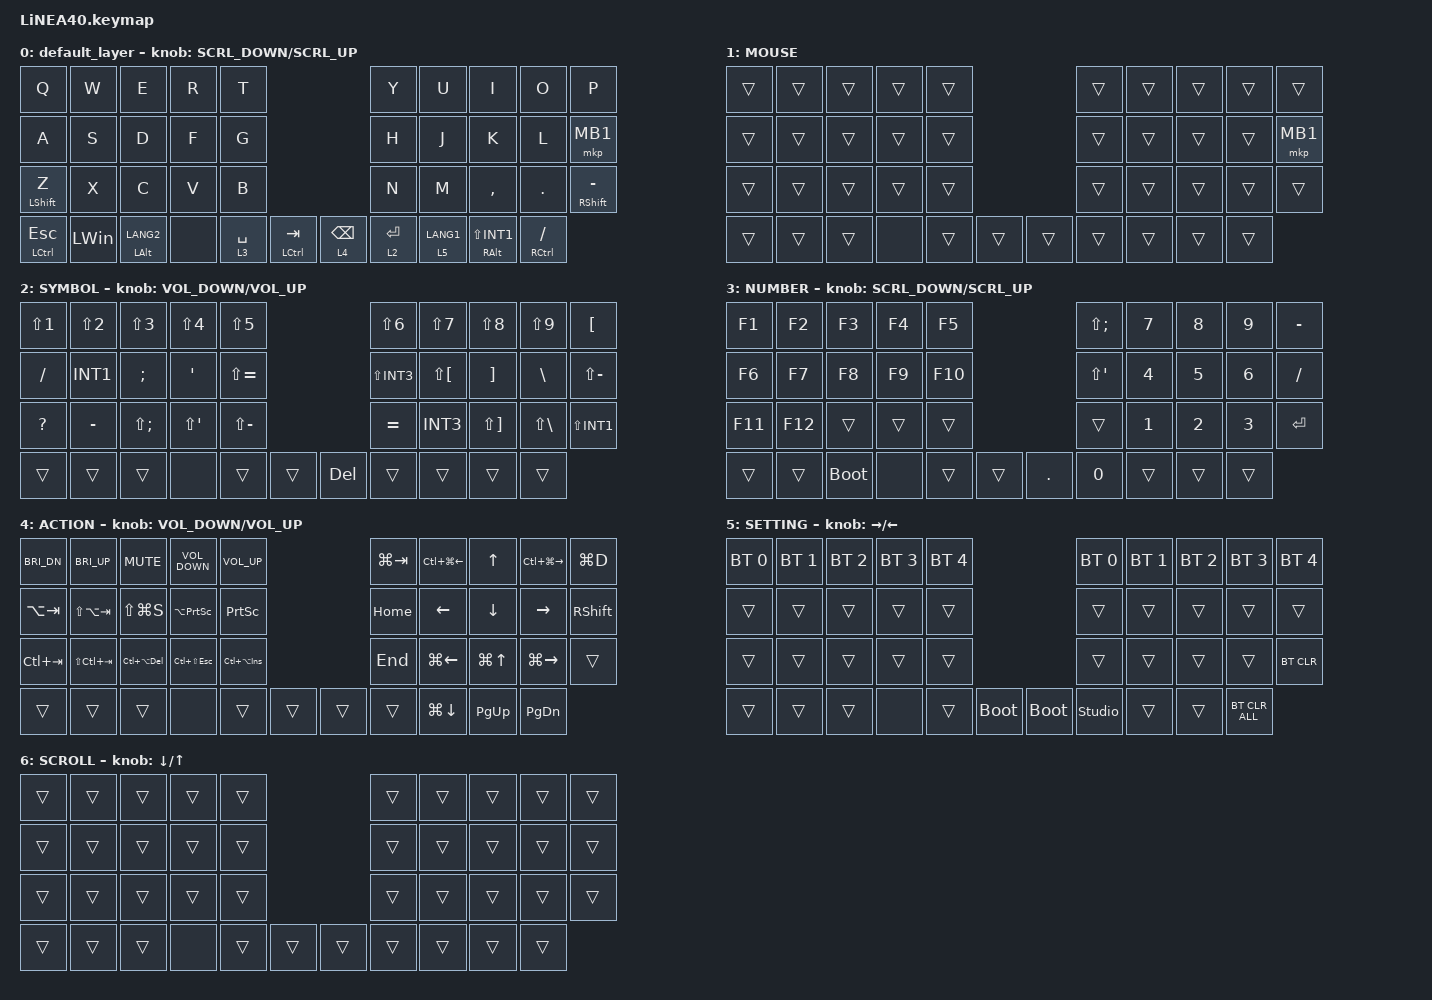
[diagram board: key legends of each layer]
#define ZMK_POINTING_DEFAULT_SCRL_VAL 150

#include <dt-bindings/zmk/input_transform.h>
#include <input/processors.dtsi>
#include <zephyr/dt-bindings/input/input-event-codes.h>
#include <behaviors.dtsi>
#include <dt-bindings/zmk/bt.h>
#include <dt-bindings/zmk/keys.h>
#include <dt-bindings/zmk/pointing.h>

#define MOUSE 1
#define SYMBOL 2
#define NUMBER 3
#define ACTION 4
#define SETTING 5
#define SCROLL 6

//mouse cursol

&mmv {
    delay-ms = <20>;
    trigger-period-ms = <5>;
    time-to-max-speed-ms = <100>;
    acceleration-exponent = <2>;
};

//mouse scroll

&msc {
    delay-ms = <3>;
    trigger-period-ms = <3>;
    time-to-max-speed-ms = <100>;
    acceleration-exponent = <0>;
};

&mt {
    tapping-term-ms = <200>;
    quick-tap-ms = <175>;
    require-prior-idle-ms = <120>;
    flavor = "tap-preferred";
};

&lt {
    tapping-term-ms = <200>;
    quick-tap-ms = <175>;
    flavor = "balanced";
};

/ {
    input_processors {
        zip_wheel_scaler: zip_wheel_scaler {
            compatible = "zmk,input-processor-scaler";
            #input-processor-cells = <2>;
            type = <INPUT_EV_REL>;
            codes = <INPUT_REL_WHEEL>;
            track-remainders;
        };
    };
};

&msc_input_listener {
    speed_up {
        layers = <ACTION>;
        input-processors = <&zip_wheel_scaler 3 1>; //スクロールを3倍速にする
    };
};

&trackball_listener {
    scroller {
        layers = <SCROLL>;
        input-processors =
            <&zip_xy_transform INPUT_TRANSFORM_Y_INVERT>,
            //スクロール方向を逆転,,,,,,,,,,,,,
            <&zip_xy_scaler 1 16>,
            //ボール移動量を1/16に減速（数字を大きくするほど遅い）,,,,,,,,,,,,,
            <&zip_xy_to_scroll_mapper>;
    };
};

/ {
    combos {
        compatible = "zmk,combos";

        InsertKey {
            bindings = <&kp INS>;
            key-positions = <7 8>;
            layers = <0>;
        };

        CenterClick {
            bindings = <&mkp MB3>;
            key-positions = <19 17>;
        };

        RightClick {
            bindings = <&mkp MB2>;
            key-positions = <18 19>;
        };

        scroll_change {
            bindings = <&mo 6>;
            key-positions = <17 18>;
            layers = <0>;
        };

        modoru {
            bindings = <&mkp MB4>;
            key-positions = <26 27>;
            layers = <0>;
        };

        susumu {
            bindings = <&mkp MB5>;
            key-positions = <28 27>;
            layers = <0>;
        };

        eisuu {
            bindings = <&kp LANG2>;
            key-positions = <12 13>;
            layers = <0>;
        };

        kana {
            bindings = <&kp LANG1>;
            key-positions = <17 16>;
            layers = <0>;
        };

        esc {
            bindings = <&kp ESC>;
            key-positions = <0 1>;
            layers = <0>;
        };

        rctl {
            bindings = <&kp RCTRL>;
            key-positions = <28 29>;
            layers = <0>;
        };

        tab {
            bindings = <&kp TAB>;
            key-positions = <11 10>;
            layers = <0>;
        };
    };

    behaviors {
        re_kp: sensor_rotate_kp {
            compatible = "zmk,behavior-sensor-rotate-var";
            #sensor-binding-cells = <2>;
            bindings = <&kp>, <&kp>;
        };

        mouse_scrl: mouse_wheel_scrl {
            compatible = "zmk,behavior-sensor-rotate-var";
            #sensor-binding-cells = <2>;
            bindings = <&msc>, <&msc>;

            tap-ms = <20>;
        };
    };

    keymap {
        compatible = "zmk,keymap";

        default_layer {
            bindings = <
&kp Q             &kp W         &kp E           &kp R  &kp T                                          &kp Y        &kp U  &kp I        &kp O                   &kp P
&kp A             &kp S         &kp D           &kp F  &kp G                                          &kp H        &kp J  &kp K        &kp L                   &mkp MB1
&mt LEFT_SHIFT Z  &kp X         &kp C           &kp V  &kp B                                          &kp N        &kp M  &kp COMMA    &kp DOT                 &mt RIGHT_SHIFT MINUS
&mt LCTRL ESC     &kp LEFT_WIN  &mt LALT LANG2  &none  &lt 3 SPACE  &mt LCTRL TAB    &lt 4 BACKSPACE  &lt 2 ENTER         &lt 5 LANG1  &mt RIGHT_ALT LS(INT1)  &mt RIGHT_CONTROL SLASH
            >;

            sensor-bindings = <&mouse_scrl SCRL_DOWN SCRL_UP>;
        };

        MOUSE {
            bindings = <
&trans  &trans  &trans  &trans  &trans                    &trans  &trans  &trans  &trans  &trans
&trans  &trans  &trans  &trans  &trans                    &trans  &trans  &trans  &trans  &mkp MB1
&trans  &trans  &trans  &trans  &trans                    &trans  &trans  &trans  &trans  &trans
&trans  &trans  &trans  &none   &trans  &trans    &trans  &trans          &trans  &trans  &trans
            >;
        };

        SYMBOL {
            bindings = <
&kp LS(N1)    &kp LS(N2)  &kp LS(N3)    &kp LS(N4)   &kp LS(N5)                           &kp LS(N6)    &kp LS(N7)    &kp LS(N8)    &kp LS(N9)    &kp LBKT
&kp SLASH     &kp INT1    &kp SEMI      &kp SQT      &kp LS(EQUAL)                        &kp LS(INT3)  &kp LS(LBKT)  &kp RBKT      &kp BSLH      &kp LS(MINUS)
&kp QUESTION  &kp MINUS   &kp LS(SEMI)  &kp LS(SQT)  &kp LS(MINUS)                        &kp EQUAL     &kp INT3      &kp LS(RBKT)  &kp LS(BSLH)  &kp LS(INT1)
&trans        &trans      &trans        &none        &trans         &trans    &kp DELETE  &trans                      &trans        &trans        &trans
            >;

            sensor-bindings = <&re_kp C_VOLUME_DOWN C_VOLUME_UP>;
        };

        NUMBER {
            bindings = <
&kp F1   &kp F2   &kp F3       &kp F4  &kp F5                      &kp LS(SEMI)  &kp N7  &kp N8  &kp N9  &kp MINUS
&kp F6   &kp F7   &kp F8       &kp F9  &kp F10                     &kp LS(SQT)   &kp N4  &kp N5  &kp N6  &kp SLASH
&kp F11  &kp F12  &trans       &trans  &trans                      &trans        &kp N1  &kp N2  &kp N3  &kp ENTER
&trans   &trans   &bootloader  &none   &trans   &trans    &kp DOT  &kp N0                &trans  &trans  &trans
            >;

            sensor-bindings = <&mouse_scrl SCRL_DOWN SCRL_UP>;
        };

        ACTION {
            bindings = <
&kp C_BRI_DN  &kp C_BRI_UP     &kp C_MUTE       &kp C_VOLUME_DOWN    &kp C_VOLUME_UP                    &kp LG(TAB)  &kp LC(LG(LEFT_ARROW))  &kp UP_ARROW        &kp LC(LG(RIGHT_ARROW))  &kp LG(D)
&kp LA(TAB)   &kp LS(LA(TAB))  &kp LS(LG(S))    &kp LA(PRINTSCREEN)  &kp PRINTSCREEN                    &kp HOME     &kp LEFT_ARROW          &kp DOWN_ARROW      &kp RIGHT_ARROW          &kp RIGHT_SHIFT
&kp LC(TAB)   &kp LS(LC(TAB))  &kp LC(LA(DEL))  &kp LC(LS(ESCAPE))   &kp LC(LA(INS))                    &kp END      &kp LG(LEFT_ARROW)      &kp LG(UP_ARROW)    &kp LG(RIGHT_ARROW)      &trans
&trans        &trans           &trans           &none                &trans           &trans    &trans  &trans                               &kp LG(DOWN_ARROW)  &kp PAGE_UP              &kp PAGE_DOWN
            >;

            sensor-bindings = <&inc_dec_kp C_VOLUME_DOWN C_VOLUME_UP>;
        };

        SETTING {
            bindings = <
&bt BT_SEL 0  &bt BT_SEL 1  &bt BT_SEL 2  &bt BT_SEL 3  &bt BT_SEL 4                              &bt BT_SEL 0    &bt BT_SEL 1  &bt BT_SEL 2  &bt BT_SEL 3  &bt BT_SEL 4
&trans        &trans        &trans        &trans        &trans                                    &trans          &trans        &trans        &trans        &trans
&trans        &trans        &trans        &trans        &trans                                    &trans          &trans        &trans        &trans        &bt BT_CLR
&trans        &trans        &trans        &none         &trans        &bootloader    &bootloader  &studio_unlock                &trans        &trans        &bt BT_CLR_ALL
            >;

            sensor-bindings = <&inc_dec_kp RIGHT_ARROW LEFT_ARROW>;
        };

        SCROLL {
            bindings = <
&trans  &trans  &trans  &trans  &trans                    &trans  &trans  &trans  &trans  &trans
&trans  &trans  &trans  &trans  &trans                    &trans  &trans  &trans  &trans  &trans
&trans  &trans  &trans  &trans  &trans                    &trans  &trans  &trans  &trans  &trans
&trans  &trans  &trans  &none   &trans  &trans    &trans  &trans          &trans  &trans  &trans
            >;

            sensor-bindings = <&inc_dec_kp DOWN_ARROW UP_ARROW>;
        };
    };
};
